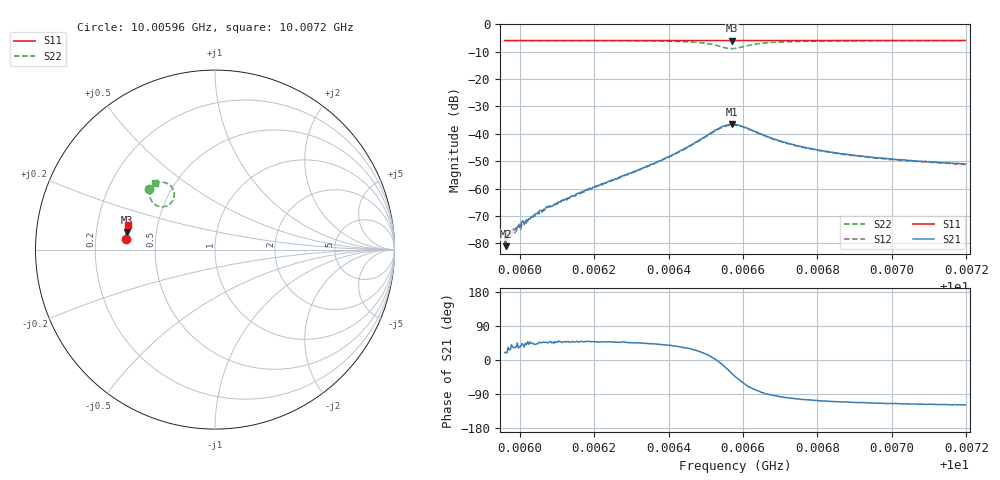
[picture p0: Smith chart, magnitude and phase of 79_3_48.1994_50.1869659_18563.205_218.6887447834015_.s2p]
#  HZ  S  RI  R  50.00
! Rohde & Schwarz Vector Network Analyzer
! Rohde-Schwarz,ZNB20-2Port,1311601062101988,3.16
! Created: UTC 3/20/2024, 11:39:37 AM
! freq[Hz]  re:S11  im:S11  re:S21  im:S21  re:S12  im:S12  re:S22  im:S22
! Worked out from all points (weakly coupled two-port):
!   401 points, 10.00596 GHz to 10.0072 GHz, reference 50 ohm
!   highest |S21| = -36.59 dB at 10.00657 GHz (marker M1); lowest = -81.0 dB at 10.00596 GHz (marker M2)
!   lowest |S11| = -6.0 dB at 10.00657 GHz (marker M3), VSWR 3.01, Z = 16.8 + j4.41 ohm
!   |S11| at or under -10 dB: nowhere
!   |S22| runs from -8.9 to -6.0 dB; largest |S21 - S12| = 0.0011
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1.000596e10  -0.498 0.0599  0.00012 4.31e-05  9.65e-05 6.54e-05  -0.3686 0.3354
1.0005963e10  -0.4979 0.06  8.37e-05 3.04e-05  8.99e-05 2.27e-05  -0.3685 0.3354
1.0005978e10  -0.4977 0.061  0.000133 0.000113  9.96e-05 9.46e-05  -0.3675 0.3365
1.0005985e10  -0.4978 0.0616  0.000155 9.76e-05  0.000127 9.12e-05  -0.3673 0.3371
1.0005994e10  -0.4978 0.0621  0.000135 0.000135  0.000132 0.000132  -0.3666 0.3377
1.0006009e10  -0.4977 0.063  0.000194 0.00017  0.000158 0.000147  -0.3658 0.3386
1.0006028e10  -0.4975 0.0643  0.00019 0.000208  0.000198 0.000201  -0.3647 0.3399
1.0006077e10  -0.4971 0.0677  0.000331 0.000342  0.000288 0.000357  -0.3613 0.3434
1.0006167e10  -0.4966 0.0733  0.000562 0.000651  0.00051 0.000666  -0.3543 0.3502
1.0006374e10  -0.4946 0.0869  0.00242 0.00211  0.00222 0.00214  -0.3251 0.3698
1.0006436e10  -0.4939 0.091  0.00423 0.0028  0.00399 0.00294  -0.3033 0.3752
1.0006498e10  -0.493 0.0951  0.0085 0.00259  0.00817 0.00288  -0.2608 0.3657
1.0006541e10  -0.4919 0.0973  0.013 -0.00228  0.0127 -0.00151  -0.2273 0.313
1.0006569e10  -0.4914 0.0985  0.0122 -0.00838  0.0123 -0.00761  -0.2476 0.2579
1.0006579e10  -0.4915 0.0989  0.0107 -0.0102  0.0111 -0.00913  -0.2644 0.2459
1.00066e10  -0.4916 0.1  0.00666 -0.0117  0.00711 -0.0113  -0.3061 0.2393
1.0006647e10  -0.4917 0.103  0.000984 -0.00991  0.00146 -0.0098  -0.3534 0.2709
1.0006705e10  -0.4912 0.1069  -0.000958 -0.00713  -0.000581 -0.00703  -0.3637 0.3051
1.0006786e10  -0.4904 0.1123  -0.00144 -0.00508  -0.0012 -0.00509  -0.3603 0.3294
1.0006866e10  -0.4894 0.1174  -0.0015 -0.00407  -0.0013 -0.00402  -0.3544 0.3432
1.0006993e10  -0.4876 0.1256  -0.00146 -0.00316  -0.00125 -0.00314  -0.346 0.3571
1.0007197e10  -0.4846 0.1384  -0.00135 -0.00246  -0.00122 -0.00251  -0.3337 0.3721
